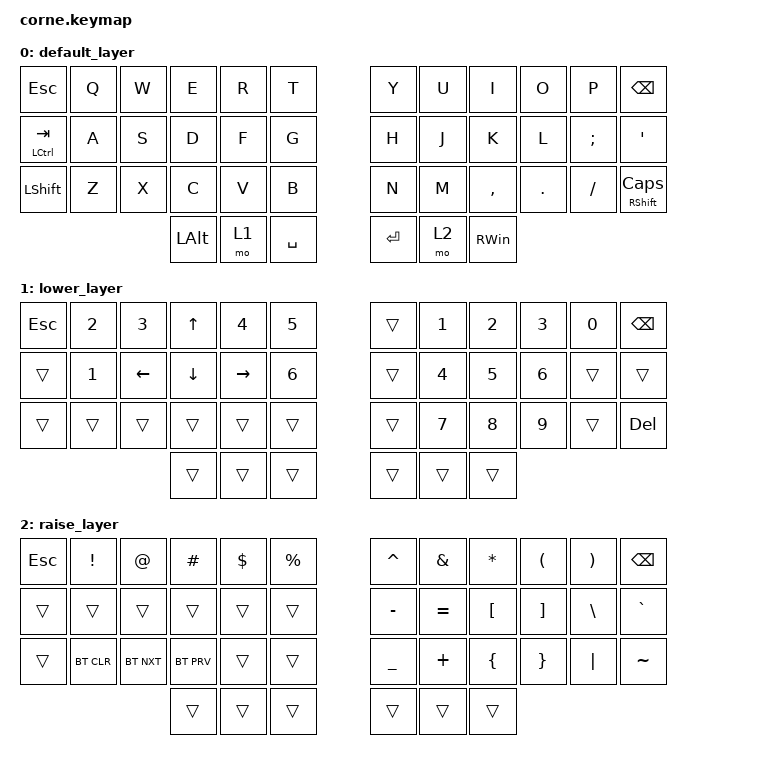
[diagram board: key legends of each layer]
/*
 * Copyright (c) 2020 The ZMK Contributors
 *
 * SPDX-License-Identifier: MIT
 */

#include <behaviors.dtsi>
#include <dt-bindings/zmk/bt.h>
#include <dt-bindings/zmk/keys.h>

/ {
    macros {
        alt_tab: alt_tab {
            compatible = "zmk,behavior-macro";
            #binding-cells = <0>;
            bindings = <&none>;
            label = "ALT_TAB";
        };
    };

    keymap {
        compatible = "zmk,keymap";

        default_layer {
            // -----------------------------------------------------------------------------------------
            // |  TAB |  Q  |  W  |  E  |  R  |  T  |   |  Y  |  U   |  I  |  O  |  P  | BKSP |
            // | CTRL |  A  |  S  |  D  |  F  |  G  |   |  H  |  J   |  K  |  L  |  ;  |  '   |
            // | SHFT |  Z  |  X  |  C  |  V  |  B  |   |  N  |  M   |  ,  |  .  |  /  | ESC  |
            //                    | GUI | LWR | SPC |   | ENT | RSE  | ALT |

            bindings = <
&kp ESCAPE            &kp Q  &kp W  &kp E         &kp R  &kp T        &kp Y      &kp U  &kp I          &kp O    &kp P     &kp BSPC
&mt LEFT_CONTROL TAB  &kp A  &kp S  &kp D         &kp F  &kp G        &kp H      &kp J  &kp K          &kp L    &kp SEMI  &kp SQT
&kp LSHFT             &kp Z  &kp X  &kp C         &kp V  &kp B        &kp N      &kp M  &kp COMMA      &kp DOT  &kp FSLH  &mt RIGHT_SHIFT CAPS
                                    &kp LEFT_ALT  &mo 1  &kp SPACE    &kp ENTER  &mo 2  &kp RIGHT_WIN
            >;
        };

        lower_layer {
            // -----------------------------------------------------------------------------------------
            // |  TAB |  1  |  2  |  3  |  4  |  5  |   |  6  |  7  |  8  |  9  |  0  | BKSP |
            // | BTCLR| BT1 | BT2 | BT3 | BT4 | BT5 |   | LFT | DWN |  UP | RGT |     |      |
            // | SHFT |     |     |     |     |     |   |     |     |     |     |     |      |
            //                    | GUI |     | SPC |   | ENT |     | ALT |

            bindings = <
&kp ESC  &kp NUMBER_2  &kp NUMBER_3    &kp UP_ARROW    &kp NUMBER_4     &kp N5          &trans  &kp NUMBER_1  &kp NUMBER_2  &kp NUMBER_3  &kp N0  &kp BSPC
&trans   &kp NUMBER_1  &kp LEFT_ARROW  &kp DOWN_ARROW  &kp RIGHT_ARROW  &kp NUMBER_6    &trans  &kp NUMBER_4  &kp NUMBER_5  &kp NUMBER_6  &trans  &trans
&trans   &trans        &trans          &trans          &trans           &trans          &trans  &kp NUMBER_7  &kp NUMBER_8  &kp NUMBER_9  &trans  &kp DELETE
                                       &trans          &trans           &trans          &trans  &trans        &trans
            >;
        };

        raise_layer {
            // -----------------------------------------------------------------------------------------
            // |  TAB |  !  |  @  |  #  |  $  |  %  |   |  ^  |  &  |  *  |  (  |  )  | BKSP |
            // | CTRL |     |     |     |     |     |   |  -  |  =  |  [  |  ]  |  \  |  `   |
            // | SHFT |     |     |     |     |     |   |  _  |  +  |  {  |  }  | "|" |  ~   |
            //                    | GUI |     | SPC |   | ENT |     | ALT |

            bindings = <
&kp ESCAPE  &kp EXCL    &kp AT      &kp HASH    &kp DLLR  &kp PRCNT    &kp CARET  &kp AMPS   &kp ASTRK  &kp LPAR  &kp RPAR  &kp BSPC
&trans      &trans      &trans      &trans      &trans    &trans       &kp MINUS  &kp EQUAL  &kp LBKT   &kp RBKT  &kp BSLH  &kp GRAVE
&trans      &bt BT_CLR  &bt BT_NXT  &bt BT_PRV  &trans    &trans       &kp UNDER  &kp PLUS   &kp LBRC   &kp RBRC  &kp PIPE  &kp TILDE
                                    &trans      &trans    &trans       &trans     &trans     &trans
            >;
        };
    };
};
